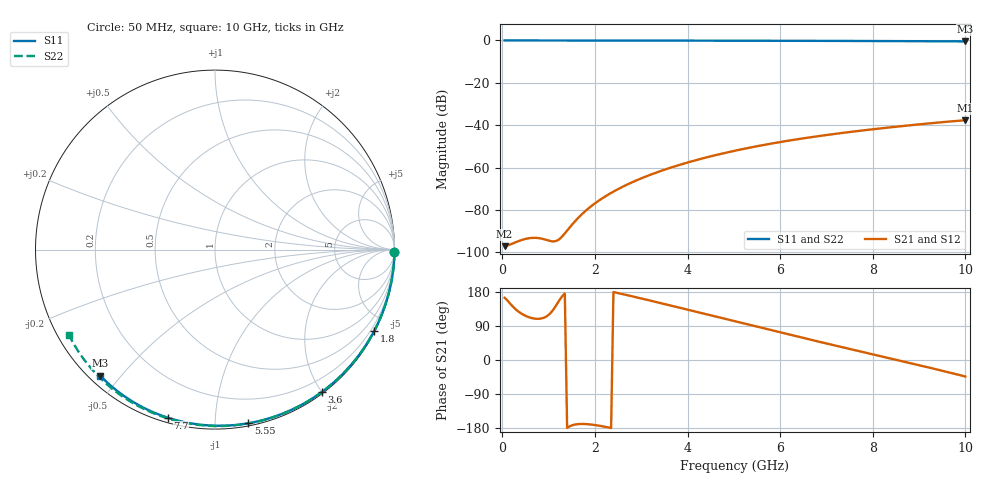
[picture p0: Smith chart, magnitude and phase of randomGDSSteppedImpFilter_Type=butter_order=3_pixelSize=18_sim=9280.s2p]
! freq	dB(S11)	phase(S11)	dB(S12)	phase(S12)
!  dB(S21)	phase(S21)	dB(S22)	phase(S22)
!S-par simulation data
#  GHz  S  DB  R 50
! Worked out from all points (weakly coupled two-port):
!   200 points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, 50 MHz to 10 GHz, reference 50 ohm
!   highest |S21| = -37.66 dB at 10 GHz (marker M1); lowest = -97.1 dB at 50 MHz (marker M2)
!   lowest |S11| = -0.4 dB at 10 GHz (marker M3), VSWR 38.96, Z = 1.53 - j22.1 ohm
!   |S11| at or under -10 dB: nowhere
!   |S22| runs from -0.5 to 0.0 dB; largest |S21 - S12| = 0
!   S11 on the Smith chart (normalised r, x): 50 MHz: open; 1.8 GHz: 0.04, -4.15; 3.6 GHz: 0.02, -2.01; 5.55 GHz: 0.02, -1.21; 7.7 GHz: 0.02, -0.76; 10 GHz: 0.03, -0.44
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0.05  -0.00 -0.8  -97.13 164.2  -97.13 164.2  -0.00 -0.9
0.45  -0.01 -6.9  -94.00 119.8  -94.00 119.8  -0.00 -7.8
0.85  -0.02 -12.9  -93.58 109.7  -93.58 109.7  -0.01 -14.7
1.3  -0.02 -19.7  -92.39 169.1  -92.39 169.1  -0.03 -22.3
1.75  -0.03 -26.4  -81.41 -168.7  -81.41 -168.7  -0.04 -29.9
1.8  -0.03 -27.1  -80.42 -169.0  -80.42 -169.0  -0.04 -30.8
1.85  -0.04 -27.8  -79.49 -169.4  -79.49 -169.4  -0.04 -31.6
2.05  -0.04 -30.8  -76.13 -172.6  -76.13 -172.6  -0.05 -34.9
2.2  -0.04 -33.0  -73.96 -175.8  -73.96 -175.8  -0.05 -37.4
2.5  -0.05 -37.3  -70.18 176.6  -70.18 176.6  -0.06 -42.3
2.9  -0.06 -43.1  -66.03 165.4  -66.03 165.4  -0.06 -48.8
3.4  -0.07 -50.2  -61.80 150.7  -61.80 150.7  -0.08 -56.8
3.6  -0.07 -53.0  -60.32 144.8  -60.32 144.8  -0.08 -59.9
4.3  -0.09 -62.6  -55.83 123.9  -55.83 123.9  -0.10 -70.7
5.05  -0.11 -72.6  -51.94 101.4  -51.94 101.4  -0.13 -82.0
5.55  -0.13 -79.1  -49.73 86.4  -49.73 86.4  -0.15 -89.2
6.1  -0.15 -86.1  -47.60 70.0  -47.60 70.0  -0.17 -97.1
6.7  -0.18 -93.6  -45.57 52.3  -45.57 52.3  -0.21 -105.5
7.7  -0.24 -105.7  -42.70 23.5  -42.70 23.5  -0.27 -119.1
8.35  -0.29 -113.4  -41.08 5.0  -41.08 5.0  -0.33 -127.8
9.2  -0.36 -123.2  -39.19 -19.5  -39.19 -19.5  -0.41 -139.1
10  -0.45 -132.4  -37.66 -43.6  -37.66 -43.6  -0.51 -149.7
